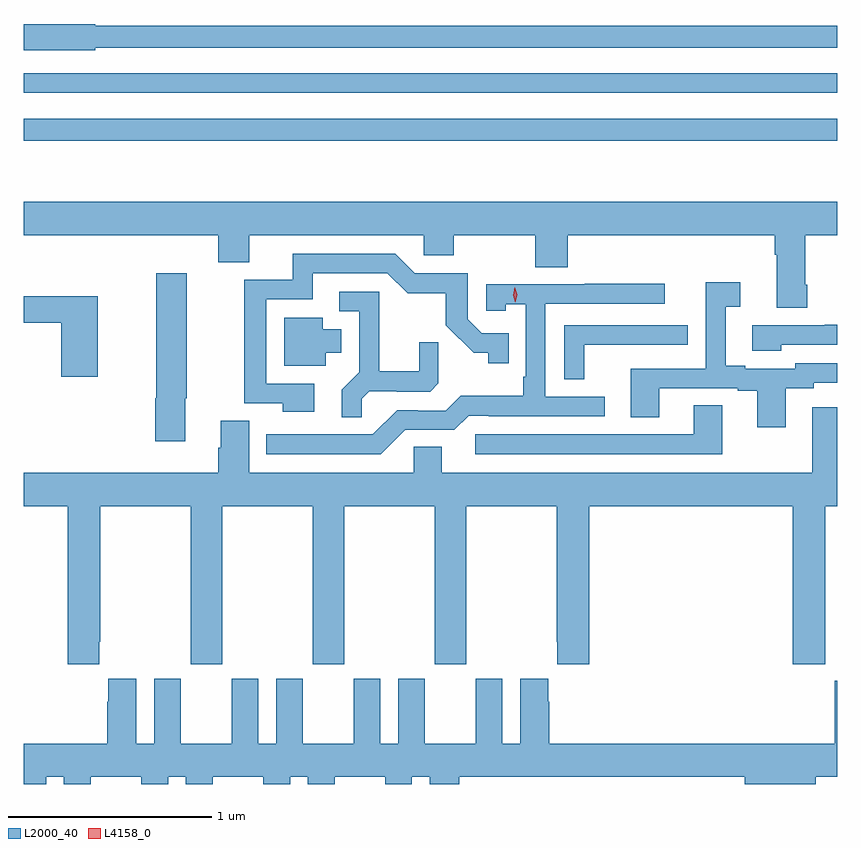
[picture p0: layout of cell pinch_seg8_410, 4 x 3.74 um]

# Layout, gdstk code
import gdstk
lib = gdstk.Library(unit=1e-6, precision=1e-09)
def R(c, l, rs):  # rectangles x0, y0, x1, y1
    for r in rs: c.add(gdstk.rectangle(r[:2], r[2:], *l))
def P(c, l, *ps):  # polygons
    for p in ps: c.add(gdstk.Polygon(p, *l))
L2000_40 = (2000, 40)
L4158_0 = (4158, 0)

pinch_seg8_410 = lib.new_cell('pinch_seg8_410')
R(pinch_seg8_410, L2000_40, [(357.843,1158.258,361.843,1158.366), (357.843,1158.492,361.843,1158.588)])
P(pinch_seg8_410, L2000_40, [(358.194,1158.714),(361.843,1158.714),(361.843,1158.823),(358.194,1158.823),(358.194,1158.831),(357.843,1158.831),(357.843,1158.701),(358.194,1158.701)],
  [(361.695,1157.548),(361.687,1157.548),(361.687,1157.792),(361.843,1157.792),(361.843,1157.956),(357.843,1157.956),(357.843,1157.792),(358.799,1157.792),(358.799,1157.659),(358.951,1157.659),(358.951,1157.792),(359.811,1157.792),(359.811,1157.694),(359.958,1157.694),(359.958,1157.792),(360.358,1157.792),(360.358,1157.635),(360.518,1157.635),(360.518,1157.792),(361.535,1157.792),(361.535,1157.696),(361.547,1157.696),(361.547,1157.436),(361.695,1157.436)],
  [(359.272,1157.061),(359.034,1157.061),(359.034,1157.478),(359.263,1157.478),(359.263,1157.604),(359.631,1157.604),(359.73,1157.506),(359.919,1157.506),(359.919,1157.35),(360.056,1157.213),(360.126,1157.213),(360.126,1157.163),(360.227,1157.163),(360.227,1157.31),(360.096,1157.31),(360.027,1157.379),(360.027,1157.604),(359.766,1157.604),(359.67,1157.7),(359.165,1157.7),(359.165,1157.574),(358.926,1157.574),(358.926,1156.965),(359.116,1156.965),(359.116,1156.925),(359.272,1156.925)],
  [(358.636,1156.991),(358.644,1156.991),(358.644,1157.605),(358.495,1157.605),(358.495,1156.991),(358.49,1156.991),(358.49,1156.779),(358.636,1156.779)],
  [(361.591,1157.04),(361.728,1157.04),(361.728,1157.067),(361.843,1157.067),(361.843,1157.163),(361.638,1157.163),(361.638,1157.136),(361.39,1157.136),(361.39,1157.149),(361.294,1157.149),(361.294,1157.44),(361.366,1157.44),(361.366,1157.56),(361.197,1157.56),(361.197,1157.136),(360.827,1157.136),(360.827,1156.897),(360.967,1156.897),(360.967,1157.04),(361.355,1157.04),(361.355,1157.028),(361.451,1157.028),(361.451,1156.848),(361.591,1156.848)],
  [(359.718,1156.836),(359.961,1156.836),(360.03,1156.905),(360.13,1156.905),(360.13,1156.902),(360.7,1156.902),(360.7,1156.998),(360.408,1156.998),(360.408,1157.454),(360.994,1157.454),(360.994,1157.553),(360.601,1157.553),(360.601,1157.55),(360.117,1157.55),(360.117,1157.421),(360.213,1157.421),(360.213,1157.453),(360.312,1157.453),(360.312,1157.095),(360.3,1157.095),(360.3,1157.002),(359.992,1157.002),(359.919,1156.929),(359.78,1156.929),(359.78,1156.932),(359.679,1156.932),(359.559,1156.812),(359.036,1156.812),(359.036,1156.716),(359.598,1156.716)],
  [(359.505,1156.988),(359.542,1157.025),(359.676,1157.025),(359.676,1157.022),(359.841,1157.022),(359.882,1157.063),(359.882,1157.265),(359.788,1157.265),(359.788,1157.122),(359.591,1157.122),(359.591,1157.514),(359.394,1157.514),(359.394,1157.418),(359.493,1157.418),(359.493,1157.119),(359.407,1157.033),(359.407,1156.897),(359.505,1156.897)],
  [(358.206,1157.491),(357.843,1157.491),(357.843,1157.362),(358.028,1157.362),(358.028,1157.097),(358.206,1157.097)],
  [(359.329,1157.213),(359.404,1157.213),(359.404,1157.329),(359.314,1157.329),(359.314,1157.386),(359.123,1157.386),(359.123,1157.15),(359.329,1157.15)],
  [(361.569,1157.253),(361.843,1157.253),(361.843,1157.352),(361.783,1157.352),(361.783,1157.349),(361.425,1157.349),(361.425,1157.225),(361.569,1157.225)],
  [(360.6,1157.253),(360.995,1157.253),(360.995,1157.254),(361.108,1157.254),(361.108,1157.349),(360.501,1157.349),(360.501,1157.083),(360.6,1157.083)],
  [(361.279,1156.955),(361.139,1156.955),(361.139,1156.812),(360.063,1156.812),(360.063,1156.716),(361.279,1156.716)],
  [(359.863,1155.681),(360.018,1155.681),(360.018,1156.46),(360.463,1156.46),(360.463,1155.793),(360.467,1155.793),(360.467,1155.681),(360.623,1155.681),(360.623,1156.46),(361.625,1156.46),(361.625,1155.681),(361.785,1155.681),(361.785,1156.46),(361.843,1156.46),(361.843,1156.945),(361.721,1156.945),(361.721,1156.624),(359.899,1156.624),(359.899,1156.751),(359.76,1156.751),(359.76,1156.624),(358.951,1156.624),(358.951,1156.88),(358.811,1156.88),(358.811,1156.746),(358.799,1156.746),(358.799,1156.624),(357.843,1156.624),(357.843,1156.46),(358.058,1156.46),(358.058,1155.681),(358.213,1155.681),(358.213,1155.793),(358.218,1155.793),(358.218,1156.46),(358.663,1156.46),(358.663,1155.681),(358.818,1155.681),(358.818,1156.46),(359.263,1156.46),(359.263,1155.681),(359.418,1155.681),(359.418,1156.46),(359.863,1156.46)],
  [(359.84,1155.093),(359.984,1155.093),(359.984,1155.128),(361.388,1155.128),(361.388,1155.093),(361.738,1155.093),(361.738,1155.128),(361.843,1155.128),(361.843,1155.601),(361.832,1155.601),(361.832,1155.292),(360.428,1155.292),(360.428,1155.497),(360.421,1155.497),(360.421,1155.61),(360.284,1155.61),(360.284,1155.292),(360.196,1155.292),(360.196,1155.61),(360.065,1155.61),(360.065,1155.292),(359.815,1155.292),(359.815,1155.61),(359.684,1155.61),(359.684,1155.292),(359.596,1155.292),(359.596,1155.61),(359.465,1155.61),(359.465,1155.292),(359.215,1155.292),(359.215,1155.61),(359.084,1155.61),(359.084,1155.292),(358.996,1155.292),(358.996,1155.61),(358.865,1155.61),(358.865,1155.292),(358.615,1155.292),(358.615,1155.61),(358.484,1155.61),(358.484,1155.292),(358.396,1155.292),(358.396,1155.61),(358.259,1155.61),(358.259,1155.497),(358.253,1155.497),(358.253,1155.292),(357.843,1155.292),(357.843,1155.093),(357.952,1155.093),(357.952,1155.128),(358.04,1155.128),(358.04,1155.093),(358.171,1155.093),(358.171,1155.128),(358.421,1155.128),(358.421,1155.093),(358.552,1155.093),(358.552,1155.128),(358.64,1155.128),(358.64,1155.093),(358.771,1155.093),(358.771,1155.128),(359.021,1155.128),(359.021,1155.093),(359.152,1155.093),(359.152,1155.128),(359.24,1155.128),(359.24,1155.093),(359.371,1155.093),(359.371,1155.128),(359.621,1155.128),(359.621,1155.093),(359.752,1155.093),(359.752,1155.128),(359.84,1155.128)])
P(pinch_seg8_410, L4158_0, [(360.26,1157.462),(360.259,1157.463),(360.249,1157.498),(360.258,1157.535),(360.258,1157.535),(360.258,1157.535),(360.269,1157.499),(360.26,1157.463)])

lib.write_gds('pinch_seg8_410.gds')
